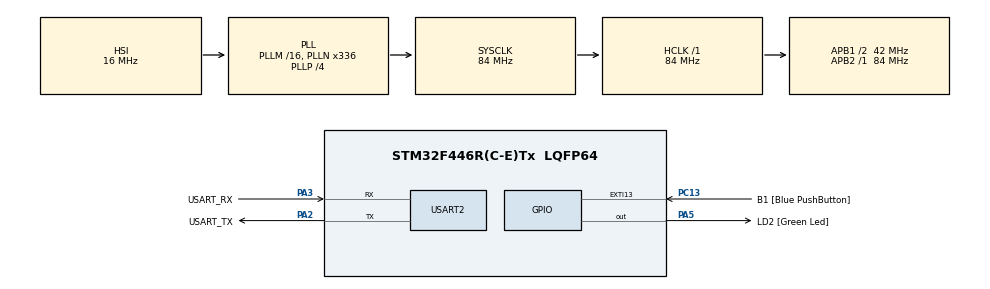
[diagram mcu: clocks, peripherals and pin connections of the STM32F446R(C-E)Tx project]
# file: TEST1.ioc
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Mcu.Family=STM32F4
Mcu.Name=STM32F446R(C-E)Tx
Mcu.Package=LQFP64
NVIC.PriorityGroup=NVIC_PRIORITYGROUP_0
PA13.GPIO_Label=TMS
PA13.Mode=Serial_Wire
PA13.Signal=SYS_JTMS-SWDIO
PA14.GPIO_Label=TCK
PA14.Mode=Serial_Wire
PA14.Signal=SYS_JTCK-SWCLK
PA2.GPIO_Label=USART_TX
PA2.Mode=Asynchronous
PA2.Signal=USART2_TX
PA3.GPIO_Label=USART_RX
PA3.Mode=Asynchronous
PA3.Signal=USART2_RX
PA5.GPIO_Label=LD2 [Green Led]
PA5.Signal=GPIO_Output
PB3.GPIO_Label=SWO
PB3.Signal=SYS_JTDO-SWO
PC13.GPIO_Label=B1 [Blue PushButton]
PC13.GPIO_ModeDefaultEXTI=GPIO_MODE_IT_FALLING
PC13.Signal=GPXTI13
PC14-OSC32_IN.Mode=LSE-External-Oscillator
PC14-OSC32_IN.Signal=RCC_OSC32_IN
PC15-OSC32_OUT.Mode=LSE-External-Oscillator
PC15-OSC32_OUT.Signal=RCC_OSC32_OUT
PH0-OSC_IN.Mode=HSE-External-Oscillator
PH0-OSC_IN.Signal=RCC_OSC_IN
PH1-OSC_OUT.Mode=HSE-External-Oscillator
PH1-OSC_OUT.Signal=RCC_OSC_OUT
ProjectManager.HeapSize=0x200
ProjectManager.StackSize=0x400
ProjectManager.TargetToolchain=SW4STM32
RCC.48MHZClocksFreq_Value=84000000
RCC.AHBFreq_Value=84000000
RCC.APB1CLKDivider=RCC_HCLK_DIV2
RCC.APB1Freq_Value=42000000
RCC.APB1TimFreq_Value=84000000
RCC.APB2Freq_Value=84000000
RCC.APB2TimFreq_Value=84000000
RCC.CortexFreq_Value=84000000
RCC.FLatency-AdvancedSettings=FLASH_LATENCY_2
RCC.HCLKFreq_Value=84000000
RCC.HSE_VALUE=8000000
RCC.HSI_VALUE=16000000
RCC.PLLN=336
RCC.PLLP=RCC_PLLP_DIV4
RCC.SYSCLKFreq_VALUE=84000000
RCC.SYSCLKSource=RCC_SYSCLKSOURCE_PLLCLK
RCC.USBFreq_Value=168000000
RCC.VCOOutputFreq_Value=336000000
USART2.VirtualMode=VM_ASYNC
board=NUCLEO-F446RE

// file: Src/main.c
/**
  ******************************************************************************
  * @file           : main.c
  * @brief          : Main program body
  ******************************************************************************
  ** This notice applies to any and all portions of this file
  * that are not between comment pairs USER CODE BEGIN and
  * USER CODE END. Other portions of this file, whether
  * inserted by the user or by software development tools
  * are owned by their respective copyright owners.
  *
  * COPYRIGHT(c) 2018 STMicroelectronics
  *
  * Redistribution and use in source and binary forms, with or without modification,
  * are permitted provided that the following conditions are met:
  *   1. Redistributions of source code must retain the above copyright notice,
  *      this list of conditions and the following disclaimer.
  *   2. Redistributions in binary form must reproduce the above copyright notice,
  *      this list of conditions and the following disclaimer in the documentation
  *      and/or other materials provided with the distribution.
  *   3. Neither the name of STMicroelectronics nor the names of its contributors
  *      may be used to endorse or promote products derived from this software
  *      without specific prior written permission.
  *
  * THIS SOFTWARE IS PROVIDED BY THE COPYRIGHT HOLDERS AND CONTRIBUTORS "AS IS"
  * AND ANY EXPRESS OR IMPLIED WARRANTIES, INCLUDING, BUT NOT LIMITED TO, THE
  * IMPLIED WARRANTIES OF MERCHANTABILITY AND FITNESS FOR A PARTICULAR PURPOSE ARE
  * DISCLAIMED. IN NO EVENT SHALL THE COPYRIGHT HOLDER OR CONTRIBUTORS BE LIABLE
  * FOR ANY DIRECT, INDIRECT, INCIDENTAL, SPECIAL, EXEMPLARY, OR CONSEQUENTIAL
  * DAMAGES (INCLUDING, BUT NOT LIMITED TO, PROCUREMENT OF SUBSTITUTE GOODS OR
  * SERVICES; LOSS OF USE, DATA, OR PROFITS; OR BUSINESS INTERRUPTION) HOWEVER
  * CAUSED AND ON ANY THEORY OF LIABILITY, WHETHER IN CONTRACT, STRICT LIABILITY,
  * OR TORT (INCLUDING NEGLIGENCE OR OTHERWISE) ARISING IN ANY WAY OUT OF THE USE
  * OF THIS SOFTWARE, EVEN IF ADVISED OF THE POSSIBILITY OF SUCH DAMAGE.
  *
  ******************************************************************************
  */
#include "main.h"
#include "stm32f4xx_hal.h"

/* USER CODE BEGIN Includes */

#include <string.h>

/* USER CODE END Includes */

UART_HandleTypeDef huart2;

/* USER CODE BEGIN PV */
/* Private variables ---------------------------------------------------------*/

/* USER CODE END PV */

void SystemClock_Config(void);
static void MX_GPIO_Init(void);
static void MX_USART2_UART_Init(void);

/* USER CODE BEGIN PFP */
/* Private function prototypes -----------------------------------------------*/

/* USER CODE END PFP */

/* USER CODE BEGIN 0 */
char *user_data = "Hello World\r\n";
char data_user='\0';

/**
  * @brief  Converts a lowercase ASCII character to its uppercase equivalent.
  * @param  data: The ASCII value of the character to be converted.
  * @retval The ASCII value of the converted uppercase character.
  *         If the input character is not a lowercase letter, it is returned unchanged.
  */
char return_capital(char x)
{
	if( x >= 'a' && x <= 'z')
	{
		x = x - ('a'- 'A');
	}

	return x;
}

/* USER CODE END 0 */

int main(void)
{
  /* USER CODE BEGIN 1 */
	uint32_t cnt=0;
	char data_buf[100];

  /* USER CODE END 1 */

  /* MCU Configuration----------------------------------------------------------*/

  /* Reset of all peripherals, Initializes the Flash interface and the Systick. */
  HAL_Init();

  /* Configure the system clock */
  SystemClock_Config();

  /* Initialize all configured peripherals */
  MX_GPIO_Init();
  MX_USART2_UART_Init();
  /* USER CODE BEGIN 2 */

  HAL_UART_Transmit(&huart2, (uint8_t*)user_data, strlen(user_data), HAL_MAX_DELAY);

  while(data_user != '\r')
  {
	  HAL_UART_Receive(&huart2, (uint8_t*)&data_user, 1, HAL_MAX_DELAY);
	  data_buf[cnt]=return_capital(data_user);
	  cnt++;
  }

  data_buf[cnt] = 10; //add new line or line feed character
  HAL_UART_Transmit(&huart2, (uint8_t*)data_buf, cnt, HAL_MAX_DELAY);
  //HAL_UART_Transmit(&huart2, (uint8_t*)user_data, strlen(user_data), HAL_MAX_DELAY);

  /* USER CODE END 2 */

  /* Infinite loop */
  while (1)
  {

  }
}

void SystemClock_Config(void)
{

  RCC_OscInitTypeDef RCC_OscInitStruct;
  RCC_ClkInitTypeDef RCC_ClkInitStruct;

    /**Configure the main internal regulator output voltage
    */
  __HAL_RCC_PWR_CLK_ENABLE();

  __HAL_PWR_VOLTAGESCALING_CONFIG(PWR_REGULATOR_VOLTAGE_SCALE3);

    /**Initializes the CPU, AHB and APB busses clocks
    */
  RCC_OscInitStruct.OscillatorType = RCC_OSCILLATORTYPE_HSI;
  RCC_OscInitStruct.HSIState = RCC_HSI_ON;
  RCC_OscInitStruct.HSICalibrationValue = 16;
  RCC_OscInitStruct.PLL.PLLState = RCC_PLL_ON;
  RCC_OscInitStruct.PLL.PLLSource = RCC_PLLSOURCE_HSI;
  RCC_OscInitStruct.PLL.PLLM = 16;
  RCC_OscInitStruct.PLL.PLLN = 336;
  RCC_OscInitStruct.PLL.PLLP = RCC_PLLP_DIV4;
  RCC_OscInitStruct.PLL.PLLQ = 2;
  RCC_OscInitStruct.PLL.PLLR = 2;
  if (HAL_RCC_OscConfig(&RCC_OscInitStruct) != HAL_OK)
  {
    _Error_Handler(__FILE__, __LINE__);
  }

    /**Initializes the CPU, AHB and APB busses clocks
    */
  RCC_ClkInitStruct.ClockType = RCC_CLOCKTYPE_HCLK|RCC_CLOCKTYPE_SYSCLK
                              |RCC_CLOCKTYPE_PCLK1|RCC_CLOCKTYPE_PCLK2;
  RCC_ClkInitStruct.SYSCLKSource = RCC_SYSCLKSOURCE_PLLCLK;
  RCC_ClkInitStruct.AHBCLKDivider = RCC_SYSCLK_DIV1;
  RCC_ClkInitStruct.APB1CLKDivider = RCC_HCLK_DIV2;
  RCC_ClkInitStruct.APB2CLKDivider = RCC_HCLK_DIV1;

  if (HAL_RCC_ClockConfig(&RCC_ClkInitStruct, FLASH_LATENCY_2) != HAL_OK)
  {
    _Error_Handler(__FILE__, __LINE__);
  }

    /**Configure the Systick interrupt time
    */
  HAL_SYSTICK_Config(HAL_RCC_GetHCLKFreq()/1000);

    /**Configure the Systick
    */
  HAL_SYSTICK_CLKSourceConfig(SYSTICK_CLKSOURCE_HCLK);

  /* SysTick_IRQn interrupt configuration */
  HAL_NVIC_SetPriority(SysTick_IRQn, 0, 0);
}

/* USART2 init function */
static void MX_USART2_UART_Init(void)
{

  huart2.Instance = USART2;
  huart2.Init.BaudRate = 115200;
  huart2.Init.WordLength = UART_WORDLENGTH_8B;
  huart2.Init.StopBits = UART_STOPBITS_1;
  huart2.Init.Parity = UART_PARITY_NONE;
  huart2.Init.Mode = UART_MODE_TX_RX;
  huart2.Init.HwFlowCtl = UART_HWCONTROL_NONE;
  huart2.Init.OverSampling = UART_OVERSAMPLING_16;
  if (HAL_UART_Init(&huart2) != HAL_OK)
  {
    _Error_Handler(__FILE__, __LINE__);
  }

}

/** Configure pins as
        * Analog
        * Input
        * Output
        * EVENT_OUT
        * EXTI
*/
static void MX_GPIO_Init(void)
{

  GPIO_InitTypeDef GPIO_InitStruct;

  /* GPIO Ports Clock Enable */
  __HAL_RCC_GPIOC_CLK_ENABLE();
  __HAL_RCC_GPIOH_CLK_ENABLE();
  __HAL_RCC_GPIOA_CLK_ENABLE();
  __HAL_RCC_GPIOB_CLK_ENABLE();

  /*Configure GPIO pin Output Level */
  HAL_GPIO_WritePin(LD2_GPIO_Port, LD2_Pin, GPIO_PIN_RESET);

  /*Configure GPIO pin : B1_Pin */
  GPIO_InitStruct.Pin = B1_Pin;
  GPIO_InitStruct.Mode = GPIO_MODE_IT_FALLING;
  GPIO_InitStruct.Pull = GPIO_NOPULL;
  HAL_GPIO_Init(B1_GPIO_Port, &GPIO_InitStruct);

  /*Configure GPIO pin : LD2_Pin */
  GPIO_InitStruct.Pin = LD2_Pin;
  GPIO_InitStruct.Mode = GPIO_MODE_OUTPUT_PP;
  GPIO_InitStruct.Pull = GPIO_NOPULL;
  GPIO_InitStruct.Speed = GPIO_SPEED_FREQ_LOW;
  HAL_GPIO_Init(LD2_GPIO_Port, &GPIO_InitStruct);

}

void _Error_Handler(char *file, int line)
{
  while(1)
  {
  }
}

/************************ (C) COPYRIGHT STMicroelectronics *****END OF FILE****/
